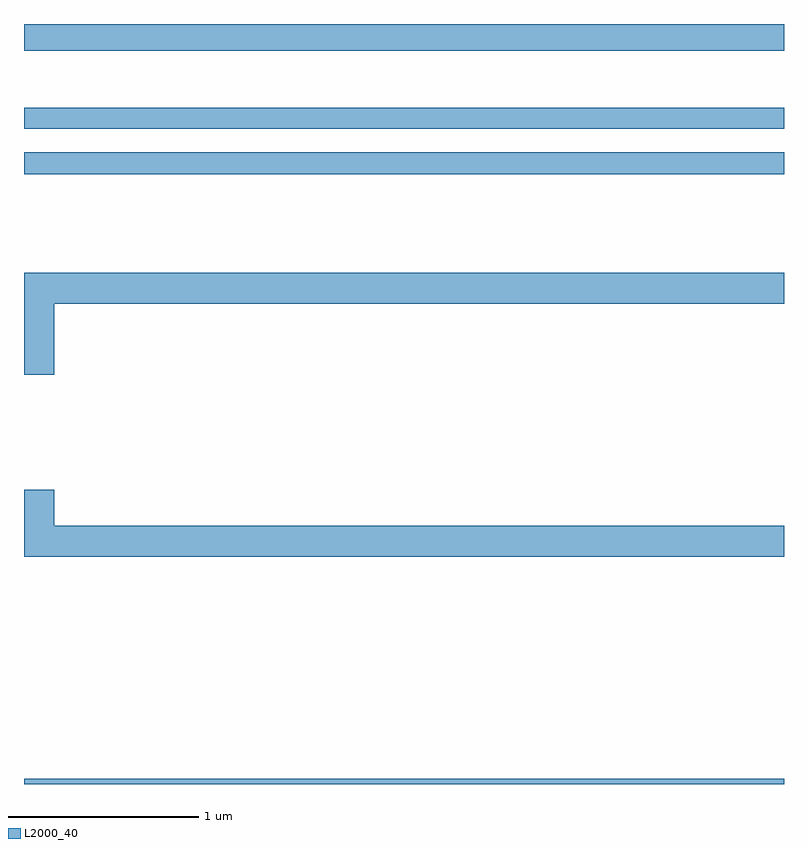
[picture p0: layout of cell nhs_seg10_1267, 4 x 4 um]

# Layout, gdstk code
import gdstk
lib = gdstk.Library(unit=1e-6, precision=1e-09)
def R(c, l, rs):  # rectangles x0, y0, x1, y1
    for r in rs: c.add(gdstk.rectangle(r[:2], r[2:], *l))
def P(c, l, *ps):  # polygons
    for p in ps: c.add(gdstk.Polygon(p, *l))
L2000_40 = (2000, 40)

nhs_seg10_1267 = lib.new_cell('nhs_seg10_1267')
R(nhs_seg10_1267, L2000_40, [(177,1252.5,181,1252.528), (177,1255.708,181,1255.824), (177,1255.95,181,1256.059), (177,1256.36,181,1256.5)])
P(nhs_seg10_1267, L2000_40, [(177.16,1255.028),(181,1255.028),(181,1255.192),(177,1255.192),(177,1254.654),(177.16,1254.654)],
  [(181,1253.86),(177.16,1253.86),(177.16,1254.049),(177,1254.049),(177,1253.696),(181,1253.696)])

lib.write_gds('nhs_seg10_1267.gds')
